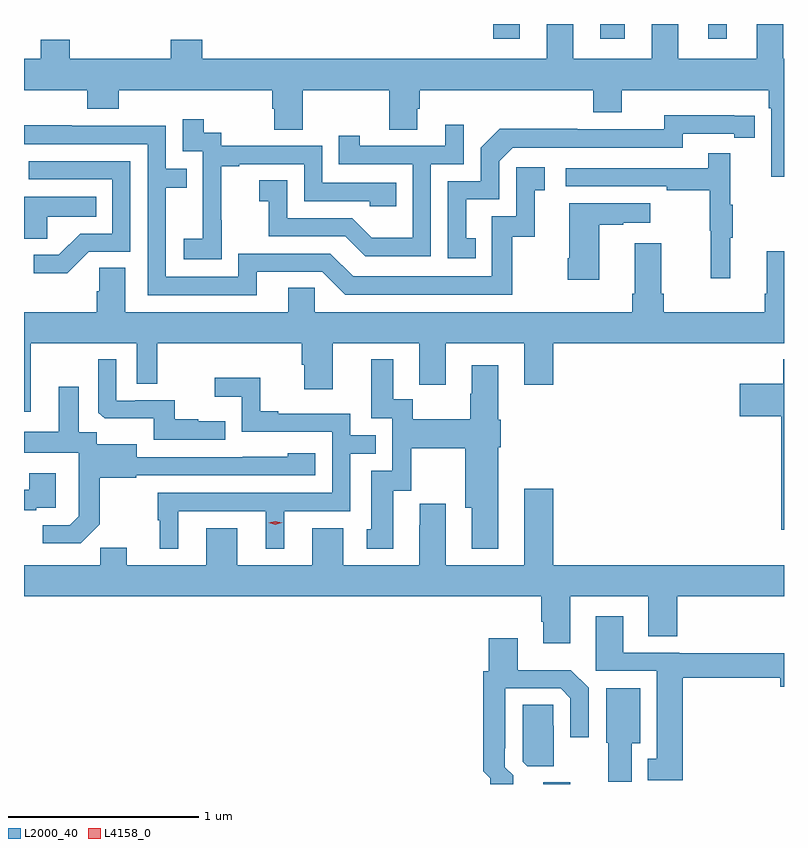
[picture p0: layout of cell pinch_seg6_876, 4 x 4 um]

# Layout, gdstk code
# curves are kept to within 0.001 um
import gdstk
lib = gdstk.Library(unit=1e-6, precision=1e-09)
def R(c, l, rs):  # rectangles x0, y0, x1, y1
    for r in rs: c.add(gdstk.rectangle(r[:2], r[2:], *l))
def P(c, l, *ps):  # polygons
    for p in ps: c.add(gdstk.Polygon(p, *l))
L2000_40 = (2000, 40)
L4158_0 = (4158, 0)

pinch_seg6_876 = lib.new_cell('pinch_seg6_876')
R(pinch_seg6_876, L2000_40, [(223.151,929.032,223.291,929.04), (222.887,932.955,223.027,933.032), (223.451,932.955,223.579,933.032), (224.018,932.955,224.116,933.032)])
P(pinch_seg6_876, L2000_40, [(224.417,932.848),(224.413,932.848),(224.413,933.032),(224.273,933.032),(224.273,932.848),(223.861,932.848),(223.861,933.032),(223.721,933.032),(223.721,932.848),(223.309,932.848),(223.309,933.032),(223.169,933.032),(223.169,932.848),(221.354,932.848),(221.354,932.95),(221.189,932.95),(221.189,932.848),(220.658,932.848),(220.658,932.95),(220.505,932.95),(220.505,932.848),(220.417,932.848),(220.417,932.684),(220.751,932.684),(220.751,932.585),(220.916,932.585),(220.916,932.684),(221.723,932.684),(221.723,932.586),(221.735,932.586),(221.735,932.476),(221.883,932.476),(221.883,932.684),(222.34,932.684),(222.34,932.476),(222.487,932.476),(222.487,932.586),(222.5,932.586),(222.5,932.684),(223.412,932.684),(223.412,932.567),(223.564,932.567),(223.564,932.684),(224.336,932.684),(224.336,932.588),(224.349,932.588),(224.349,932.229),(224.417,932.229)],
  [(222.794,931.905),(222.745,931.905),(222.745,932.109),(222.918,932.109),(222.918,932.31),(222.99,932.382),(223.884,932.382),(223.884,932.454),(224.156,932.454),(224.156,932.434),(224.264,932.434),(224.264,932.55),(223.788,932.551),(223.788,932.478),(223.328,932.478),(223.328,932.48),(222.92,932.48),(222.822,932.382),(222.822,932.205),(222.648,932.205),(222.648,931.8),(222.794,931.8)],
  [(221.457,931.999),(221.456,931.999),(221.456,932.283),(221.551,932.283),(221.551,932.295),(221.892,932.295),(221.892,932.1),(222.237,932.1),(222.237,932.073),(222.377,932.073),(222.377,932.196),(221.988,932.196),(221.988,932.391),(221.454,932.391),(221.454,932.46),(221.362,932.46),(221.362,932.53),(221.253,932.53),(221.253,932.361),(221.358,932.361),(221.358,932.132),(221.357,932.132),(221.357,931.903),(221.259,931.903),(221.259,931.793),(221.457,931.793)],
  [(222.558,932.295),(222.732,932.295),(222.732,932.503),(222.635,932.503),(222.635,932.391),(222.184,932.391),(222.184,932.443),(222.073,932.443),(222.073,932.295),(222.462,932.295),(222.462,931.906),(222.248,931.906),(222.144,932.01),(221.802,932.01),(221.802,932.209),(221.655,932.209),(221.655,932.099),(221.704,932.099),(221.704,931.914),(222.107,931.914),(222.212,931.809),(222.558,931.809)],
  [(221.641,931.728),(221.988,931.728),(222.108,931.608),(222.988,931.608),(222.988,931.911),(223.106,931.911),(223.106,932.157),(223.159,932.157),(223.159,932.278),(223.008,932.278),(223.008,932.019),(222.879,932.019),(222.879,931.704),(222.15,931.704),(222.03,931.824),(221.544,931.824),(221.544,931.701),(221.163,931.701),(221.163,932.17),(221.273,932.17),(221.273,932.271),(221.163,932.271),(221.163,932.496),(220.667,932.496),(220.667,932.498),(220.417,932.498),(220.417,932.4),(221.067,932.4),(221.067,931.605),(221.641,931.605)],
  [(224.135,931.907),(224.146,931.907),(224.146,932.081),(224.135,932.081),(224.135,932.353),(224.017,932.353),(224.017,932.274),(223.269,932.274),(223.269,932.178),(223.801,932.178),(223.801,932.158),(224.025,932.158),(224.025,931.944),(224.032,931.944),(224.032,931.695),(224.135,931.695)],
  [(220.758,931.833),(220.977,931.833),(220.977,932.31),(220.443,932.31),(220.443,932.214),(220.881,932.214),(220.881,931.929),(220.712,931.929),(220.601,931.818),(220.467,931.818),(220.467,931.721),(220.645,931.721)],
  [(220.539,932.018),(220.796,932.018),(220.796,932.122),(220.418,932.122),(220.418,931.903),(220.539,931.903)],
  [(223.444,931.975),(223.571,931.975),(223.571,931.985),(223.714,931.985),(223.714,932.089),(223.286,932.089),(223.286,931.798),(223.279,931.798),(223.279,931.686),(223.444,931.686)],
  [(221.807,931.516),(220.951,931.516),(220.951,931.748),(220.812,931.748),(220.812,931.625),(220.799,931.625),(220.799,931.516),(220.417,931.516),(220.417,930.99),(220.453,930.99),(220.453,931.352),(221.01,931.352),(221.01,931.138),(221.119,931.138),(221.119,931.352),(221.879,931.352),(221.879,931.239),(221.891,931.239),(221.891,931.11),(222.043,931.11),(222.043,931.352),(222.497,931.352),(222.497,931.134),(222.637,931.134),(222.637,931.352),(223.049,931.352),(223.049,931.134),(223.202,931.134),(223.202,931.352),(224.417,931.352),(224.417,931.837),(224.327,931.837),(224.327,931.612),(224.315,931.612),(224.315,931.516),(223.784,931.516),(223.784,931.612),(223.771,931.612),(223.771,931.879),(223.631,931.879),(223.631,931.612),(223.619,931.612),(223.619,931.516),(221.946,931.516),(221.946,931.643),(221.807,931.643)],
  [(221.477,930.94),(221.333,930.94),(221.333,930.952),(221.21,930.952),(221.21,931.053),(221.002,931.053),(221.002,931.05),(220.902,931.05),(220.902,931.267),(220.809,931.267),(220.809,930.987),(220.841,930.956),(221.1,930.956),(221.1,930.843),(221.477,930.843)],
  [(222.913,930.804),(222.926,930.804),(222.926,930.948),(222.913,930.948),(222.913,931.237),(222.773,931.237),(222.773,931.086),(222.766,931.086),(222.766,930.952),(222.463,930.952),(222.463,931.058),(222.361,931.058),(222.361,931.267),(222.245,931.267),(222.245,930.957),(222.354,930.957),(222.354,930.681),(222.245,930.681),(222.245,930.372),(222.221,930.372),(222.221,930.27),(222.361,930.27),(222.361,930.575),(222.454,930.575),(222.454,930.8),(222.74,930.8),(222.74,930.485),(222.773,930.485),(222.773,930.269),(222.913,930.269)],
  [(224.417,931.267),(224.414,931.267),(224.414,931.138),(224.184,931.138),(224.184,930.968),(224.402,930.968),(224.402,930.371),(224.417,930.371)],
  [(221.23,930.468),(221.69,930.468),(221.69,930.269),(221.788,930.269),(221.788,930.468),(222.135,930.468),(222.135,930.771),(222.269,930.771),(222.269,930.867),(222.135,930.867),(222.135,930.981),(221.755,930.981),(221.755,930.994),(221.661,930.994),(221.661,931.169),(221.421,931.169),(221.421,931.07),(221.562,931.07),(221.562,930.885),(222.039,930.885),(222.039,930.564),(221.121,930.564),(221.121,930.42),(221.132,930.42),(221.132,930.269),(221.23,930.269)],
  [(220.815,930.399),(220.815,930.645),(221.007,930.645),(221.007,930.657),(221.95,930.657),(221.95,930.772),(221.805,930.772),(221.805,930.754),(221.011,930.753),(221.011,930.82),(220.8,930.82),(220.8,930.884),(220.705,930.884),(220.705,931.123),(220.601,931.123),(220.601,930.886),(220.417,930.886),(220.417,930.776),(220.704,930.776),(220.704,930.535),(220.706,930.535),(220.706,930.44),(220.659,930.393),(220.515,930.393),(220.515,930.299),(220.715,930.299)],
  [(220.481,930.486),(220.585,930.486),(220.585,930.667),(220.445,930.667),(220.445,930.582),(220.417,930.582),(220.417,930.474),(220.481,930.474)],
  [(223.291,930.02),(223.703,930.02),(223.703,929.809),(223.856,929.809),(223.856,930.02),(224.417,930.02),(224.417,930.184),(223.202,930.184),(223.202,930.586),(223.049,930.586),(223.049,930.184),(222.637,930.184),(222.637,930.508),(222.499,930.508),(222.499,930.395),(222.497,930.395),(222.497,930.184),(222.097,930.184),(222.097,930.379),(221.933,930.379),(221.933,930.184),(221.539,930.184),(221.539,930.379),(221.375,930.379),(221.375,930.184),(220.957,930.184),(220.957,930.275),(220.819,930.275),(220.819,930.184),(220.417,930.184),(220.417,930.02),(223.139,930.02),(223.139,929.887),(223.151,929.887),(223.151,929.772),(223.291,929.772)],
  [(223.883,929.59),(224.396,929.59),(224.396,929.543),(224.417,929.543),(224.417,929.719),(223.866,929.719),(223.866,929.724),(223.57,929.724),(223.57,929.914),(223.427,929.914),(223.427,929.628),(223.748,929.628),(223.748,929.165),(223.7,929.165),(223.7,929.052),(223.883,929.052)],
  [(222.991,929.078),(222.948,929.121),(222.948,929.221),(222.951,929.221),(222.951,929.535),(223.242,929.535),(223.293,929.484),(223.293,929.277),(223.389,929.277),(223.389,929.538),(223.295,929.632),(223.015,929.632),(223.015,929.8),(222.863,929.8),(222.863,929.625),(222.835,929.625),(222.835,929.282),(222.833,929.282),(222.833,929.1),(222.871,929.061),(222.871,929.032),(222.991,929.032)],
  [(223.615,929.246),(223.66,929.246),(223.66,929.536),(223.481,929.536),(223.481,929.25),(223.493,929.25),(223.493,929.043),(223.615,929.043)],
  [(223.204,929.339),(223.203,929.339),(223.203,929.45),(223.041,929.45),(223.041,929.148),(223.065,929.125),(223.204,929.125)])
P(pinch_seg6_876, L4158_0, [(221.739,930.396),(221.704,930.406),(221.703,930.406),(221.704,930.406),(221.739,930.416),(221.774,930.406),(221.775,930.406),(221.774,930.406)])

lib.write_gds('pinch_seg6_876.gds')
